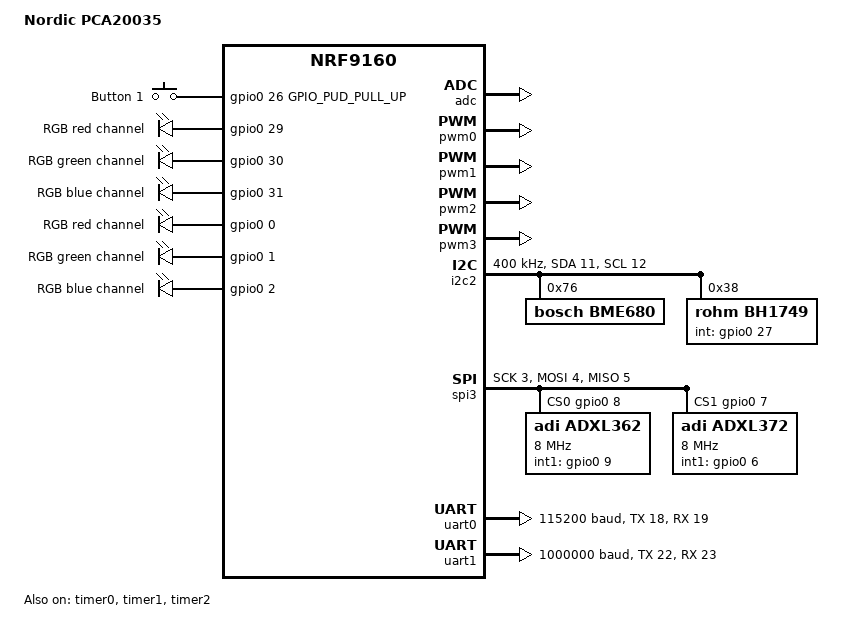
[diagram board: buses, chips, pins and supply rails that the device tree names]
/*
 * Copyright (c) 2019 Nordic Semiconductor ASA
 *
 * SPDX-License-Identifier: LicenseRef-BSD-5-Clause-Nordic
 */

/ {
	model = "Nordic PCA20035";
	compatible = "nordic,pca20035", "nordic,nrf9160-sica",
		     "nordic,nrf9160";

	chosen {
		zephyr,console = &uart0;
		zephyr,shell-uart = &uart0;
		zephyr,uart-mcumgr = &uart0;
	};

	buttons {
		compatible = "gpio-keys";

		button0: button_0 {
			gpios = <&gpio0 26 GPIO_PUD_PULL_UP>;
			label = "Button 1";
		};
	};

	leds {
		compatible = "gpio-leds";
		red_led: led_1 {
			gpios = <&gpio0 29 0>;
			label = "RGB red channel";
		};
		green_led: led_2 {
			gpios = <&gpio0 30 0>;
			label = "RGB green channel";
		};
		blue_led: led_3 {
			gpios = <&gpio0 31 0>;
			label = "RGB blue channel";
		};
		sense_red_led: led_4 {
			gpios = <&gpio0 0 0>;
			label = "RGB red channel";
		};
		sense_green_led: led_5 {
			gpios = <&gpio0 1 0>;
			label = "RGB green channel";
		};
		sense_blue_led: led_6 {
			gpios = <&gpio0 2 0>;
			label = "RGB blue channel";
		};
	};

	aliases {
		sw0 = &button0;
		led0 = &red_led;
		led1 = &green_led;
		led2 = &blue_led;
		sense-led0 = &sense_red_led;
		sense-led1 = &sense_green_led;
		sense-led2 = &sense_blue_led;
		rgb-pwm = &pwm0;
		buzzer-pwm = &pwm1;
		nmos-pwm = &pwm2;
	};
};

&adc {
	status = "okay";
};

&gpiote {
	status = "okay";
};

&gpio0 {
	status = "okay";
};

/* PWM0 is intended for RGB LED control */
&pwm0 {
	status = "okay";
	ch0-pin = <29>;
	ch1-pin = <30>;
	ch2-pin = <31>;
};

/* PWM1 is intended for buzzer control */
&pwm1 {
	status = "okay";
	ch0-pin = <28>;
};

/* PWM2 is intended for NMOS transistor control */
&pwm2 {
	status = "okay";
	ch0-pin = <13>;
	ch1-pin = <14>;
	ch2-pin = <15>;
	ch3-pin = <16>;
};

&pwm3 {
	status = "okay";
};

&i2c2 {
	compatible = "nordic,nrf-twim";
	status = "okay";
	sda-pin = <11>;
	scl-pin = <12>;
	clock-frequency = <I2C_BITRATE_FAST>;

	bme680@76 {
		compatible = "bosch,bme680";
		label = "BME680";
		reg = <0x76>;
	};

	bh1749@38 {
			compatible = "rohm,bh1749";
			label = "BH1749";
			reg = <0x38>;
			int-gpios = <&gpio0 27 0>;
	};
};

&spi3 {
	compatible = "nordic,nrf-spim";
	status = "okay";
	sck-pin = <3>;
	mosi-pin = <4>;
	miso-pin = <5>;
	cs-gpios = <&gpio0 8 0>, <&gpio0 7 0>;

	adxl362@0 {
		compatible = "adi,adxl362";
		label = "ADXL362";
		spi-max-frequency = <8000000>;
		reg = <0>;
		int1-gpios = <&gpio0 9 0>;
	};

	adxl372@1 {
		compatible = "adi,adxl372";
		label = "ADXL372";
		spi-max-frequency = <8000000>;
		reg = <1>;
		int1-gpios = <&gpio0 6 0>;
	};
};

&timer0 {
	status = "okay";
};

&timer1 {
	status = "okay";
};

&timer2 {
	status = "okay";
};

&uart0 {
	current-speed = <115200>;
	status = "okay";
	tx-pin = <18>;
	rx-pin = <19>;
	rts-pin = <20>;
	cts-pin = <21>;
};

&uart1 {
	current-speed = <1000000>;
	status = "okay";
	tx-pin = <22>;
	rx-pin = <23>;
	rts-pin = <24>;
	cts-pin = <25>;
};

&flash0 {
	/*
	 * For more information, see:
	 * http://docs.zephyrproject.org/devices/dts/flash_partitions.html
	 */
	partitions {
		compatible = "fixed-partitions";
		#address-cells = <1>;
		#size-cells = <1>;

		boot_partition: partition@0 {
			label = "mcuboot";
			reg = <0x00000000 0x10000>;
		};
		slot0_partition: partition@10000 {
			label = "image-0";
		};
		slot0_ns_partition: partition@40000 {
			label = "image-0-nonsecure";
		};
		slot1_partition: partition@80000 {
			label = "image-1";
		};
		slot1_ns_partition: partition@b0000 {
			label = "image-1-nonsecure";
		};
		scratch_partition: partition@f0000 {
			label = "image-scratch";
			reg = <0x000f0000 0xa000>;
		};
		storage_partition: partition@fa000 {
			label = "storage";
			reg = <0x000fa000 0x00006000>;
		};
	};
};

/ {
	/* SRAM allocated and used by the BSD library */
	sram0_bsd: memory@20010000 {
		device_type = "memory";
		compatible = "mmio-sram";
	};

	/* SRAM allocated to the Non-Secure image */
	sram0_ns: memory@20020000 {
		device_type = "memory";
		compatible = "mmio-sram";
	};
};

/* Include partition configuration file */
#include "nrf9160_pca20035_partition_conf.dts"
